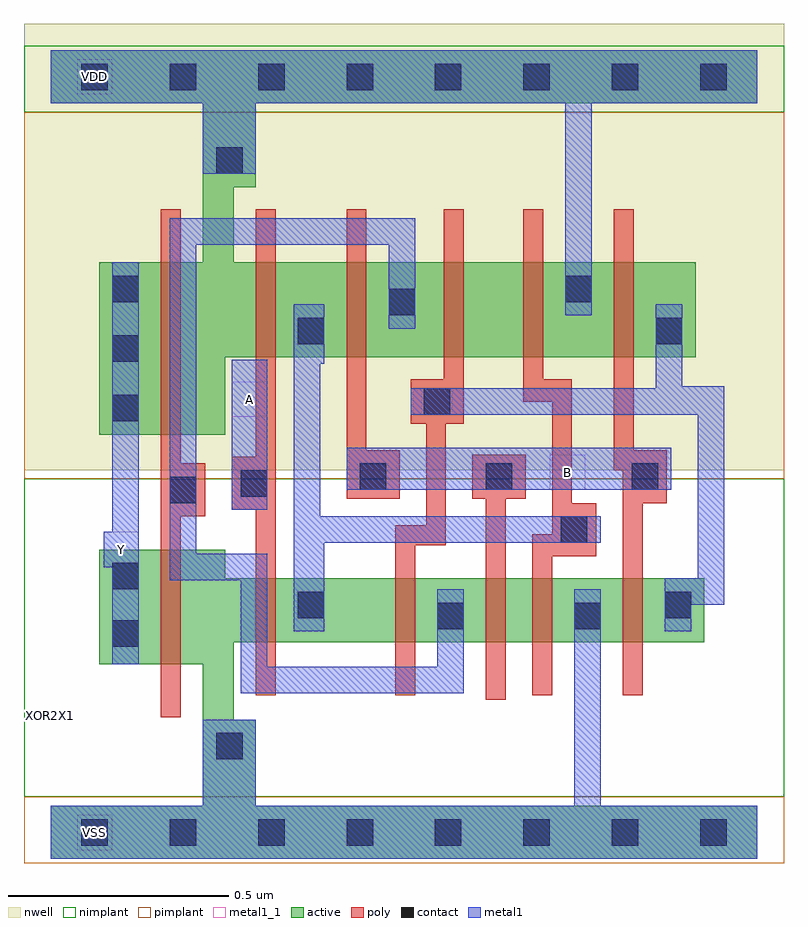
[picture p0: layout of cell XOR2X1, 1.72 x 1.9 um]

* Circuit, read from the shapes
.subckt XOR2X1 A B VDD VSS Y
M1 VSS n1 Y VSS nfet w=0.26u l=0.045u
M2 n2 A VSS VSS nfet w=0.145u l=0.045u
M3 n1 n3 n2 VSS nfet w=0.145u l=0.045u
M4 n4 B n1 VSS nfet w=0.145u l=0.045u
M5 VSS n2 n4 VSS nfet w=0.145u l=0.045u
M6 n3 B VSS VSS nfet w=0.145u l=0.045u
M7 VDD n1 Y VDD pfet w=0.39u l=0.045u
M8 n2 A VDD VDD pfet w=0.215u l=0.045u
M9 n1 B n2 VDD pfet w=0.215u l=0.045u
M10 n5 n3 n1 VDD pfet w=0.215u l=0.045u
M11 VDD n2 n5 VDD pfet w=0.215u l=0.045u
M12 n3 B VDD VDD pfet w=0.215u l=0.045u
.ends

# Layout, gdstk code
import gdstk
lib = gdstk.Library(unit=1e-6, precision=5e-10)
def R(c, l, rs):  # rectangles x0, y0, x1, y1
    for r in rs: c.add(gdstk.rectangle(r[:2], r[2:], *l))
def A(c, l, x, y, w, h, nx, ny, dx, dy):  # array of equal rectangles
    R(c, l, [(x+i*dx, y+j*dy, x+i*dx+w, y+j*dy+h) for i in range(nx) for j in range(ny)])
def P(c, l, *ps):  # polygons
    for p in ps: c.add(gdstk.Polygon(p, *l))
active = (1, 0)
nwell = (2, 0)
poly = (3, 0)
nimplant = (4, 0)
pimplant = (5, 0)
contact = (6, 0)
metal1 = (7, 0)
metal1_1 = (7, 1)

xor2x1 = lib.new_cell('XOR2X1')
P(xor2x1, active, [(1.6,0.06),(0.465,0.06),(0.465,0.255),(0.415,0.255),(0.415,0.43),(1.48,0.43),(1.48,0.575),(0.395,0.575),(0.395,0.64),(0.11,0.64),(0.11,0.38),(0.345,0.38),(0.345,0.06),(0,0.06),(0,-0.06),(1.6,-0.06)],
  [(1.6,1.77),(0,1.77),(0,1.65),(0.345,1.65),(0.345,1.29),(0.11,1.29),(0.11,0.9),(0.395,0.9),(0.395,1.075),(1.46,1.075),(1.46,1.29),(0.415,1.29),(0.415,1.46),(0.465,1.46),(0.465,1.65),(1.6,1.65)])
R(xor2x1, nwell, [(-0.06,0.82,1.66,1.83)])
P(xor2x1, poly, [(1.395,0.865),(1.32,0.865),(1.32,1.41),(1.275,1.41),(1.275,0.82),(1.295,0.82),(1.295,0.31),(1.34,0.31),(1.34,0.745),(1.395,0.745)],
  [(1.235,0.745),(1.18,0.745),(1.18,1.025),(1.115,1.025),(1.115,1.41),(1.07,1.41),(1.07,0.975),(1.135,0.975),(1.135,0.675),(1.09,0.675),(1.09,0.31),(1.135,0.31),(1.135,0.625),(1.235,0.625)],
  [(1.075,0.855),(0.955,0.855),(0.955,0.755),(0.985,0.755),(0.985,0.3),(1.03,0.3),(1.03,0.755),(1.075,0.755)],
  [(0.935,1.41),(0.89,1.41),(0.89,1.025),(0.815,1.025),(0.815,0.925),(0.85,0.925),(0.85,0.695),(0.78,0.695),(0.78,0.31),(0.825,0.31),(0.825,0.65),(0.895,0.65),(0.895,0.925),(0.935,0.925)],
  [(0.79,0.865),(0.715,0.865),(0.715,1.41),(0.67,1.41),(0.67,0.755),(0.79,0.755)],
  [(0.51,1.41),(0.465,1.41),(0.465,0.85),(0.41,0.85),(0.41,0.73),(0.465,0.73),(0.465,0.31),(0.51,0.31)],
  [(0.35,0.835),(0.295,0.835),(0.295,1.41),(0.25,1.41),(0.25,0.26),(0.295,0.26),(0.295,0.715),(0.35,0.715)])
R(xor2x1, nimplant, [(-0.06,0.08,1.66,0.8), (-0.06,1.63,1.66,1.78)])
R(xor2x1, pimplant, [(-0.06,-0.07,1.66,0.08), (-0.06,0.8,1.66,1.63)])
A(xor2x1, contact, 0.07, -0.03, 0.06, 0.06, 8, 2, 0.2, 1.71)
A(xor2x1, contact, 0.14, 0.93, 0.06, 0.06, 1, 3, 0, 0.135)
R(xor2x1, contact, [(0.375,0.165,0.435,0.225), (0.14,0.42,0.2,0.48), (0.875,0.46,0.935,0.52), (1.185,0.46,1.245,0.52), (0.56,0.485,0.62,0.545), (1.39,0.485,1.45,0.545), (0.14,0.55,0.2,0.61), (1.155,0.655,1.215,0.715), (0.27,0.745,0.33,0.805), (0.43,0.76,0.49,0.82), (0.7,0.775,0.76,0.835), (0.985,0.775,1.045,0.835), (1.315,0.775,1.375,0.835), (0.845,0.945,0.905,1.005), (0.56,1.105,0.62,1.165), (1.37,1.105,1.43,1.165), (0.765,1.17,0.825,1.23), (1.165,1.2,1.225,1.26), (0.375,1.49,0.435,1.55)])
R(xor2x1, metal1, [(0.41,0.73,0.49,1.07), (0.67,0.775,1.405,0.87)])
P(xor2x1, metal1, [(1.525,1.01),(1.43,1.01),(1.43,1.195),(1.37,1.195),(1.37,1.005),(0.815,1.005),(0.815,0.945),(1.465,0.945),(1.465,0.575),(1.39,0.575),(1.39,0.455),(1.45,0.455),(1.45,0.515),(1.525,0.515)],
  [(1.6,1.77),(0,1.77),(0,1.65),(0.345,1.65),(0.345,1.49),(0.465,1.49),(0.465,1.65),(1.165,1.65),(1.165,1.17),(1.225,1.17),(1.225,1.65),(1.6,1.65)],
  [(1.245,0.715),(0.61,0.715),(0.61,1.06),(0.62,1.06),(0.62,1.195),(0.55,1.195),(0.55,0.455),(0.62,0.455),(0.62,0.655),(1.245,0.655)],
  [(0.935,0.55),(0.875,0.55),(0.875,0.375),(0.49,0.375),(0.49,0.63),(0.33,0.63),(0.33,1.33),(0.765,1.33),(0.765,1.14),(0.825,1.14),(0.825,1.39),(0.27,1.39),(0.27,0.57),(0.43,0.57),(0.43,0.315),(0.935,0.315)],
  [(1.6,0.06),(1.245,0.06),(1.245,0.55),(1.185,0.55),(1.185,0.06),(0.465,0.06),(0.465,0.255),(0.345,0.255),(0.345,0.06),(0,0.06),(0,-0.06),(1.6,-0.06)],
  [(0.2,1.29),(0.14,1.29),(0.14,0.68),(0.12,0.68),(0.12,0.6),(0.14,0.6),(0.14,0.38),(0.2,0.38)])
R(xor2x1, metal1_1, [(0.06,-0.04,0.14,0.04), (0.12,0.6,0.2,0.68), (1.13,0.775,1.21,0.855), (0.41,0.94,0.49,1.02), (0.06,1.67,0.14,1.75)])
xor2x1.add(gdstk.Label('A', (0.45,0.98), layer=7, texttype=1))
xor2x1.add(gdstk.Label('Y', (0.16,0.64), layer=7, texttype=1))
xor2x1.add(gdstk.Label('B', (1.17,0.815), layer=7, texttype=1))
xor2x1.add(gdstk.Label('VDD', (0.1,1.71), layer=7, texttype=1))
xor2x1.add(gdstk.Label('VSS', (0.1,0), layer=7, texttype=1))
xor2x1.add(gdstk.Label('XOR2X1', (0,0.265), layer=63, texttype=0))

lib.write_gds('XOR2X1.gds')
